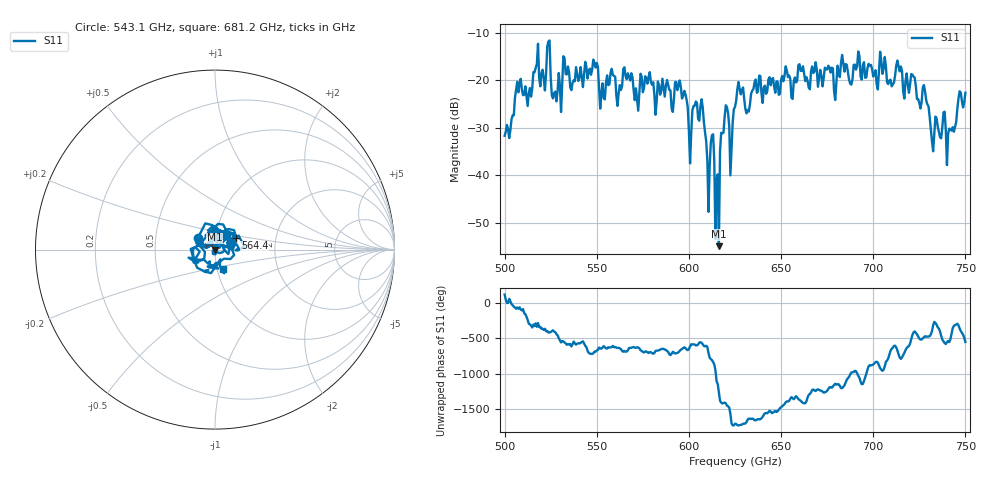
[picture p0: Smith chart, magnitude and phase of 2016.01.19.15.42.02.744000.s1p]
!Created with skrf (http://scikit-rf.org).
# GHz S RI R 50.0
!freq ReS11 ImS11
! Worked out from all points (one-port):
!   401 points, 500 GHz to 750 GHz, reference 50 ohm
!   lowest |S11| = -54.9 dB at 616.2 GHz (marker M1), VSWR 1.00, Z = 49.8 + j0.00948 ohm
!   |S11| at or under -10 dB: start of sweep to end of sweep
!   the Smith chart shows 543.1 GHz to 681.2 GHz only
!   S11 on the Smith chart (normalised r, x): 543.1 GHz: 0.82, +0.11; 564.4 GHz: 1.25, +0.16; 681.2 GHz: 1.06, -0.24
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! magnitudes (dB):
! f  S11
! 500 GHz  -31.7
! 516.9 GHz  -17.4
! 520.6 GHz  -17.8
! 523.8 GHz  -11.9
! 526.9 GHz  -22.7
! 531.2 GHz  -20.7
! 543.1 GHz  -18.8
! 562.5 GHz  -21.1
! 564.4 GHz  -17.7
! 593.8 GHz  -22.1
! 600.6 GHz  -37.5
! 607.5 GHz  -25.8
! 610 GHz  -36.9
! 612.5 GHz  -31.6
! 615 GHz  -40.9
! 616.2 GHz  -54.9
! 619.4 GHz  -27.7
! 623.1 GHz  -34.2
! 625 GHz  -25.6
! 656.2 GHz  -24.0
! 681.2 GHz  -18.5
! 687.5 GHz  -20.7
! 705 GHz  -18.7
! 718.8 GHz  -20.9
! 728.1 GHz  -22.4
! 731.9 GHz  -32.8
! 741.2 GHz  -30.2
! 750 GHz  -22.7
